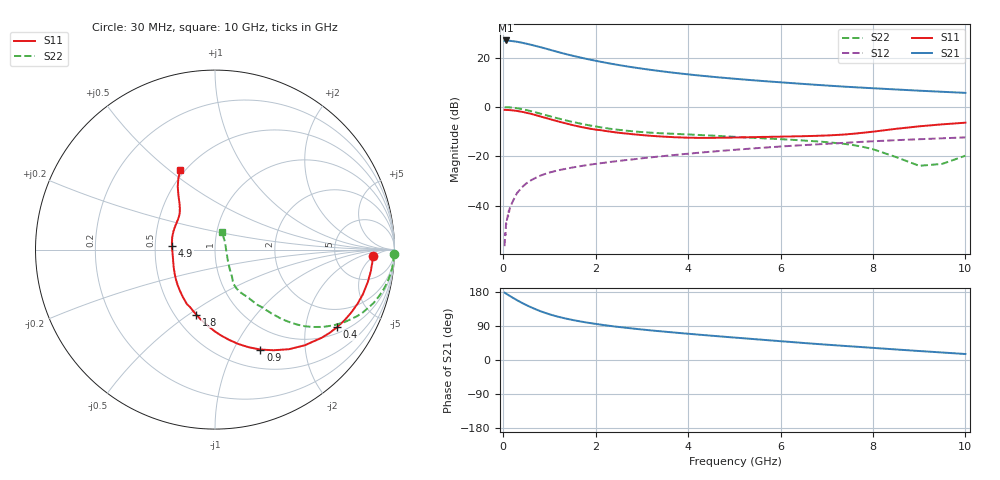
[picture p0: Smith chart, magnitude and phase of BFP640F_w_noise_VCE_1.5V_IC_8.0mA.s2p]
! Infineon Technologies  Discrete & RF Semiconductors
! BFP640F
! VCE =  1.5 V,  IC =  8.0 mA
! Common Emitter S-Parameters:  Apr 2013
# GHz  S  MA  R  50
!  f  S11  S21  S12  S22
! GHz  MAG  ANG  MAG  ANG  MAG  ANG  MAG  ANG
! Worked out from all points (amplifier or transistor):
!   99 points, 30 MHz to 10 GHz, reference 50 ohm
!   highest |S21| = 27.1 dB at 50 MHz (marker M1)
!   |S21| within 3 dB of that: start of sweep to 860 MHz
!   unconditionally stable (mu >= 1): 3.535 GHz to end of sweep
!   at 350 MHz: K = 0.13, MSG = 30.1 dB, |S12| = -33.8 dB
!   at 3.5 GHz: K = 1.00, MSG = 17.1 dB, |S12| = -19.8 dB
!   at 10 GHz: K = 1.08, MAG = 7.4 dB, |S12| = -12.3 dB
!   lowest NFmin = 0.59 dB at 450 MHz
!   S11 on the Smith chart (normalised r, x): 30 MHz: 14, -5; 400 MHz: 1.22, -2.99; 900 MHz: 0.72, -1.28; 1.8 GHz: 0.63, -0.53; 4.9 GHz: 0.61, +0.03; 10 GHz: 0.47, +0.55
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0.03  0.881 -2.5  22.34 177.7  0.0015 106.9  0.9959 -1.5
0.05  0.8788 -4.3  22.63 176.3  0.0025 102.2  0.9967 -2.6
0.12  0.872 -10.1  22.42 170.7  0.0079 90.9  0.9907 -6.6
0.2  0.8611 -16.7  21.91 164.8  0.0118 84.3  0.9767 -10.9
0.3  0.8365 -24.7  21.28 157.7  0.0181 78.7  0.9493 -16.0
0.4  0.8056 -32.4  20.45 151.1  0.0233 75.8  0.9132 -20.8
0.6  0.7312 -46.8  18.52 139.2  0.0326 69.7  0.8288 -29.1
0.8  0.6489 -59.8  16.6 129.0  0.0405 64.7  0.7398 -35.6
0.9  0.6115 -65.6  15.65 124.7  0.0438 62.6  0.6972 -38.2
1.1  0.5411 -76.2  13.87 117.1  0.0496 59.6  0.6191 -42.4
1.3  0.4824 -85.5  12.35 110.9  0.0546 57.4  0.5546 -45.3
1.5  0.4319 -94.3  11.1 105.6  0.0595 56.2  0.5009 -47.4
1.7  0.3933 -102.4  10.04 101.1  0.064 55.2  0.4565 -49.1
1.8  0.3766 -106.2  9.568 99.0  0.0661 54.6  0.4382 -49.9
2.4  0.3103 -127.1  7.443 88.6  0.0787 52.9  0.3554 -53.9
3.4  0.2542 -154.1  5.395 75.8  0.1001 50.7  0.2955 -57.7
4.9  0.2403 175.3  3.85 60.2  0.1336 45.9  0.2527 -60.8
5.1  0.2425 171.8  3.712 58.3  0.1382 45.2  0.2471 -61.0
6.7  0.26 145.9  2.874 43.1  0.1733 38.1  0.2041 -60.9
8.5  0.363 124.1  2.286 27.8  0.2133 29.2  0.0968 -41.8
9  0.4078 120.6  2.16 23.7  0.223 26.5  0.0643 -9.2
10  0.4833 113.7  1.951 15.8  0.2432 21.3  0.1033 67.8
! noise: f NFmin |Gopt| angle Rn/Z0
0.45  0.59  0.27  8  0.06
0.9  0.59  0.26  20  0.07
1.5  0.62  0.25  28  0.08
1.9  0.63  0.23  41  0.09
2.4  0.67  0.2  55  0.09
3.5  0.76  0.17  82  0.11
5.5  0.97  0.15  168  0.14
10  1.57  0.41  -101  0.33
